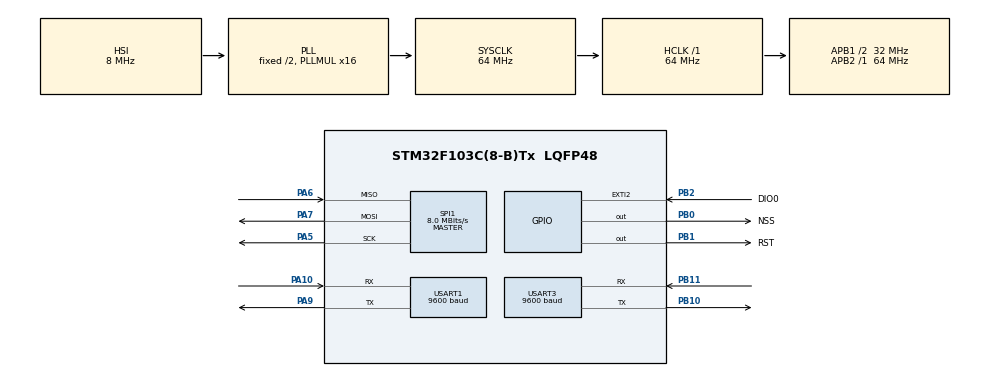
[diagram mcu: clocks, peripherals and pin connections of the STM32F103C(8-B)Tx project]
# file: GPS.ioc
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Mcu.Family=STM32F1
Mcu.Name=STM32F103C(8-B)Tx
Mcu.Package=LQFP48
NVIC.EXTI2_IRQn=true\:1\:0\:true\:false\:true\:true\:true\:true
NVIC.PriorityGroup=NVIC_PRIORITYGROUP_4
NVIC.USART3_IRQn=true\:0\:0\:false\:false\:true\:true\:true\:true
PA10.Mode=Asynchronous
PA10.Signal=USART1_RX
PA13.Mode=Serial_Wire
PA13.Signal=SYS_JTMS-SWDIO
PA14.Mode=Serial_Wire
PA14.Signal=SYS_JTCK-SWCLK
PA5.Mode=Full_Duplex_Master
PA5.Signal=SPI1_SCK
PA6.Mode=Full_Duplex_Master
PA6.Signal=SPI1_MISO
PA7.Mode=Full_Duplex_Master
PA7.Signal=SPI1_MOSI
PA9.Mode=Asynchronous
PA9.Signal=USART1_TX
PB0.GPIO_Label=NSS
PB0.PinState=GPIO_PIN_SET
PB0.Signal=GPIO_Output
PB1.GPIO_Label=RST
PB1.PinState=GPIO_PIN_SET
PB1.Signal=GPIO_Output
PB10.Mode=Asynchronous
PB10.Signal=USART3_TX
PB11.Mode=Asynchronous
PB11.Signal=USART3_RX
PB2.GPIO_Label=DIO0
PB2.Signal=GPXTI2
PD0-OSC_IN.Mode=HSE-External-Oscillator
PD0-OSC_IN.Signal=RCC_OSC_IN
PD1-OSC_OUT.Mode=HSE-External-Oscillator
PD1-OSC_OUT.Signal=RCC_OSC_OUT
ProjectManager.HeapSize=0x200
ProjectManager.StackSize=0x400
ProjectManager.TargetToolchain=STM32CubeIDE
RCC.AHBFreq_Value=64000000
RCC.APB1CLKDivider=RCC_HCLK_DIV2
RCC.APB1Freq_Value=32000000
RCC.APB1TimFreq_Value=64000000
RCC.APB2Freq_Value=64000000
RCC.APB2TimFreq_Value=64000000
RCC.HCLKFreq_Value=64000000
RCC.PLLMUL=RCC_PLL_MUL16
RCC.SYSCLKFreq_VALUE=64000000
RCC.SYSCLKSource=RCC_SYSCLKSOURCE_PLLCLK
RCC.USBFreq_Value=64000000
SPI1.BaudRatePrescaler=SPI_BAUDRATEPRESCALER_8
SPI1.CalculateBaudRate=8.0 MBits/s
SPI1.Direction=SPI_DIRECTION_2LINES
SPI1.Mode=SPI_MODE_MASTER
SPI1.VirtualType=VM_MASTER
TIM1.Period=65535
TIM1.Prescaler=63
USART1.BaudRate=9600
USART1.VirtualMode=VM_ASYNC
USART3.BaudRate=9600
USART3.VirtualMode=VM_ASYNC
VP_TIM1_VS_ClockSourceINT.Mode=Internal
board=custom

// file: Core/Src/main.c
/* USER CODE BEGIN Header */
/**
  ******************************************************************************
  * @file           : main.c
  * @brief          : Main program body
  ******************************************************************************
  * @attention
  *
  * Copyright (c) 2024 STMicroelectronics.
  * All rights reserved.
  *
  * This software is licensed under terms that can be found in the LICENSE file
  * in the root directory of this software component.
  * If no LICENSE file comes with this software, it is provided AS-IS.
  *
  ******************************************************************************
  */
/* USER CODE END Header */
#include "main.h"

/* USER CODE BEGIN Includes */
#include "NMEA.h"
#include "uartRingBuffer.h"
#include "uart.h"
#include "stdio.h"
#include "string.h"
#include "LoRa.h"
/* USER CODE END Includes */

/* USER CODE BEGIN PD */

				/*----------DHT22 Begin------------*/
#define DHT22_Pin GPIO_PIN_9
#define DHT22_GPIO_Port GPIOB
				/*----------DHT22 End------------*/
/* USER CODE END PD */

SPI_HandleTypeDef hspi1;

TIM_HandleTypeDef htim1;

UART_HandleTypeDef huart1;
UART_HandleTypeDef huart3;

/* USER CODE BEGIN PV */
  /*---------------------------LoRa Begin----------------------*/

LoRa myLoRa;
uint16_t LoRa_stat;
uint8_t Rx_Buffer[128];
uint8_t Tx_Buffer[128];
LoRa myLoRa1;
uint16_t LoRa_stat1;
uint8_t Rx_Buffer1[128];
uint8_t Tx_Buffer1[128];
	char*  recieve_data;
	  /*---------------------------LoRa End----------------------*/

	/*----------DHT22 Begin------------*/

	char message1[16];
	char message2[16];
	uint8_t TOUT = 0, CheckSum, i;
	uint8_t T_Byte1, T_Byte2, RH_Byte1, RH_Byte2;
	float Voltage_mV = 0;
	float Temperature_C = 0;
	float Temperature_F = 0;
	char msg[32];
	char msg1[32];

	float temperature = 0.0f;
	float humidity = 0.0f;
	/*----------DHT22 End------------*/

/* USER CODE END PV */

void SystemClock_Config(void);
static void MX_GPIO_Init(void);
static void MX_USART1_UART_Init(void);
static void MX_USART3_UART_Init(void);
static void MX_SPI1_Init(void);
static void MX_TIM1_Init(void);

/* USER CODE BEGIN 0 */
/*********************************** DHT22 Function ***************************/

void delay_us(uint16_t us)
{

	__HAL_TIM_SET_COUNTER(&htim1,0);
	while(__HAL_TIM_GET_COUNTER(&htim1) < us);
}

void start_signal(void) {
    GPIO_InitTypeDef GPIO_InitStruct = {0};
    GPIO_InitStruct.Pin = DHT22_Pin;
    GPIO_InitStruct.Mode = GPIO_MODE_OUTPUT_PP;
    GPIO_InitStruct.Pull = GPIO_NOPULL;
    GPIO_InitStruct.Speed = GPIO_SPEED_FREQ_LOW;
    HAL_GPIO_Init(DHT22_GPIO_Port, &GPIO_InitStruct);

    HAL_GPIO_WritePin(DHT22_GPIO_Port, DHT22_Pin, GPIO_PIN_RESET);
    HAL_Delay(18);
    HAL_GPIO_WritePin(DHT22_GPIO_Port, DHT22_Pin, GPIO_PIN_SET);
    delay_us(30); // Wait 20-40μs

    GPIO_InitStruct.Mode = GPIO_MODE_INPUT;
    HAL_GPIO_Init(DHT22_GPIO_Port, &GPIO_InitStruct);
}

uint8_t check_response(void) {
    TOUT = 0;
    __HAL_TIM_SET_COUNTER(&htim1, 0);
    while (!HAL_GPIO_ReadPin(DHT22_GPIO_Port, DHT22_Pin) && (__HAL_TIM_GET_COUNTER(&htim1) < 100)) {};
    if (__HAL_TIM_GET_COUNTER(&htim1) >= 100)
        return 0;

    __HAL_TIM_SET_COUNTER(&htim1, 0);
    while (HAL_GPIO_ReadPin(DHT22_GPIO_Port, DHT22_Pin) && (__HAL_TIM_GET_COUNTER(&htim1) < 100)) {};
    if (__HAL_TIM_GET_COUNTER(&htim1) >= 100)
        return 0;

    return 1;
}

uint8_t read_byte(void) {
    uint8_t num = 0;
    for (i = 0; i < 8; i++) {
        while (!HAL_GPIO_ReadPin(DHT22_GPIO_Port, DHT22_Pin)) {};
        __HAL_TIM_SET_COUNTER(&htim1, 0);
        while (HAL_GPIO_ReadPin(DHT22_GPIO_Port, DHT22_Pin)) {};
        if (__HAL_TIM_GET_COUNTER(&htim1) > 40) // 40μs threshold
            num |= (1 << (7 - i));
    }
    return num;
}

void send_uart(char *string) {
    HAL_UART_Transmit(&huart1, (uint8_t*)string, strlen(string), HAL_MAX_DELAY);
}

/************************************ DHT22 ******************************************/

  	  /*--------------------------GPS Begin--------------------------*/

char GGA[100];
char RMC[100];

GPSSTRUCT gpsData;

int flagGGA = 0, flagRMC = 0;
char lcdBuffer [50];

int VCCTimeout = 5000;
  	  /*--------------------------GPS End--------------------------*/

/* USER CODE END 0 */

int main(void)
{

  /* MCU Configuration--------------------------------------------------------*/

  /* Reset of all peripherals, Initializes the Flash interface and the Systick. */
  HAL_Init();

  /* Configure the system clock */
  SystemClock_Config();

  /* USER CODE BEGIN SysInit */
  char tx_buffer[] = "No Function";
  /* USER CODE END SysInit */

  /* Initialize all configured peripherals */
  MX_GPIO_Init();
  MX_USART1_UART_Init();
  MX_USART3_UART_Init();
  MX_SPI1_Init();
  MX_TIM1_Init();
  /* USER CODE BEGIN 2 */

	  /*--------------------------GPS Begin------------------------*/
  Ringbuf_init();
  HAL_Delay(500);
  uartx_write_text(&huart1, "Hello GPS...\r\n");
  HAL_Delay(500);
	  /*--------------------------GPS End--------------------------*/

  	  /*---------------------------LoRa Begin----------------------*/
  myLoRa = newLoRa();

  myLoRa.CS_port         = NSS_GPIO_Port;
  myLoRa.CS_pin          = NSS_Pin;
  myLoRa.reset_port      = RST_GPIO_Port;
  myLoRa.reset_pin       = RST_Pin;
  myLoRa.DIO0_port       = DIO0_GPIO_Port;
  myLoRa.DIO0_pin        = DIO0_Pin;
  myLoRa.hSPIx           = &hspi1;

  myLoRa.frequency             = 440;             // default = 433 MHz
  myLoRa.spredingFactor        = SF_7;            // default = SF_7
  myLoRa.bandWidth             = BW_31_25KHz;       // default = BW_125KHz
  myLoRa.crcRate               = CR_4_5;          // default = CR_4_5
  myLoRa.power                 = POWER_20db;      // default = 20db
  myLoRa.overCurrentProtection = 130;             // default = 100 mA
  myLoRa.preamble              = 9;              // default = 8;
	   /*---------------------------LoRa End---------------------------*/
  HAL_TIM_Base_Start(&htim1);

  /* USER CODE END 2 */

  /* Infinite loop */
  /* USER CODE BEGIN WHILE */
  while (1)
  {
		/*------------------------------DHT22 Begin--------------------------------*/

	  HAL_Delay(1000); // Delay for 1 second
	          start_signal(); // Send start signal to DHT22

	          uint8_t check = check_response();
	          if (!check) {
	              send_uart("No response from the sensor\r\n");
	          } else {
	              // Read bytes from DHT22
	              RH_Byte1 = read_byte();
	              RH_Byte2 = read_byte();
	              T_Byte1 = read_byte();
	              T_Byte2 = read_byte();
	              CheckSum = read_byte();

	              // Combine humidity and temperature bytes
	              uint16_t rh = (RH_Byte1 << 8) | RH_Byte2;
	              uint16_t temp = (T_Byte1 << 8) | T_Byte2;
	              uint8_t sign = 0;

	              // Check if temperature is negative
	              if (temp > 0x8000) {
	                  temp &= 0x7FFF; // Clear the sign bit
	                  sign = 1; // Indicate negative temperature
	              }

	              char rh_buf[8], temp_buf[8];
	              sprintf(rh_buf, "%2.2u", rh);
	              sprintf(temp_buf, "%2.2u", temp);

	              // Check checksum
	              if (CheckSum == ((RH_Byte1 + RH_Byte2 + T_Byte1 + T_Byte2) & 0xFF))
	              {
	            	  send_uart("Test Message\r\n");
	                  sprintf(msg1, "RH = %3u.%1u %% ", rh / 10, rh % 10);
	                  send_uart(msg1);
	                  sprintf(msg, "Temp = %c%3u.%1u C \r\n", sign ? '-' : ' ', temp / 10, temp % 10);
	                  send_uart(msg);
	              } else {
	                  send_uart("Checksum Error! Trying Again ...\r\n");
	              }
	          }
				/*------------------------------DHT22 End--------------------------------*/

	  	/*--------------------------GPS Begin--------------------------*/
	  uartx_write_text(&huart1, "Hello\r\n");

	 	  if (Wait_for("GGA") == 1)
	 	 	  {

	 	 		  VCCTimeout = 5000;  // Reset the VCC Timeout indicating the GGA is being received

	 	 		  Copy_upto("*", GGA);
	 	 		  if (decodeGGA(GGA, &gpsData.ggastruct) == 0) flagGGA = 2;  // 2 indicates the data is valid
	 	 		  else flagGGA = 1;  // 1 indicates the data is invalid
	 	 	  }

	 	 	  if (Wait_for("RMC") == 1)
	 	 	  {

	 	 		  VCCTimeout = 5000;  // Reset the VCC Timeout indicating the RMC is being received

	 	 		  Copy_upto("*", RMC);
	 	 		  if (decodeRMC(RMC, &gpsData.rmcstruct) == 0) flagRMC = 2;  // 2 indicates the data is valid
	 	 		  else flagRMC = 1;  // 1 indicates the data is invalid
	 	 	  }

	 	 	  if((flagGGA == 2 ) | (flagRMC == 2 )){
	 			  sprintf (lcdBuffer, " %02d:%02d:%02d, %02d%02d%02d", gpsData.ggastruct.tim.hour, \
	 			gpsData.ggastruct.tim.min, gpsData.ggastruct.tim.sec, gpsData.rmcstruct.date.Day, \

	 				gpsData.rmcstruct.date.Mon, gpsData.rmcstruct.date.Yr);

	 			  uartx_write_text(&huart1, lcdBuffer);
	 			  sprintf (lcdBuffer, " \r\n Latitude= %.2f%c, Longitude= %.2f%c  ", gpsData.ggastruct.lcation.latitude, gpsData.ggastruct.lcation.NS,\
	 	 					  gpsData.ggastruct.lcation.longitude, gpsData.ggastruct.lcation.EW);
	 			  uartx_write_text(&huart1, lcdBuffer);
	 	 		  }

	 	 		  else if ((flagGGA == 1) | (flagRMC == 1))
	 	 		  {
	 	 			  // Instead of clearing the display, it's better if we print spaces.
	 	 			  // This will avoid the "refreshing" part
	 				  uartx_write_text(&huart1, "   NO FIX YET   ");

	 				  uartx_write_text(&huart1, "   Please wait  ");

	 	 		  }

	 	 		  if (VCCTimeout <= 0)
	 	 		  {
	 	 			  VCCTimeout = 5000;  // Reset the timeout

	 	 			  //reset flags
	 	 			  flagGGA =flagRMC =0;

	 	 			  // You are here means the VCC is less, or maybe there is some connection issue
	 	 			  // Check the VCC, also you can try connecting to the external 5V

	 				  uartx_write_text(&huart1, "    VCC Issue   ");

	 				  uartx_write_text(&huart1, "Check Connection");

	 	 		  }

	 	 		  HAL_Delay(1000);

	 	 		 HAL_UART_Transmit(&huart1, (uint8_t *)tx_buffer, strlen(tx_buffer), 1000);
	 	 		  HAL_Delay(1000);
  	  	  	  	  /*--------------------------GPS Begin--------------------------*/

	 	  	  	  /*---------------------------LoRa Begin------------------------*/
	 	 		   Rx_Buffer1[128]=0;
	 	 		   Rx_Buffer[128]=0;
	 	 		  while (LoRa_stat == 0)
	 	 		  {
	 	 	  if(LoRa_init(&myLoRa)== LORA_OK )
	 	 	  {
	 	 		 LoRa_stat = 1;
	 	 	  }
	 	 		  }
	 	 	    // Calculate the total size of the combined buffer
	 	 	    uint16_t combinedSize = strlen(lcdBuffer) + strlen(msg) + strlen(msg1) + 1; // +1 for null terminator
	 	 	    char combinedBuffer[combinedSize];

	 	 	    // Clear the combined buffer
	 	 	    memset(combinedBuffer, 0, sizeof(combinedBuffer));

	 	 	    // Combine lcdBuffer, msg, and msg1 into the combined buffer
	 	 	    strcpy(combinedBuffer, lcdBuffer);          // Copy lcdBuffer
	 	 	    strcat(combinedBuffer, msg);               // Append msg
	 	 	    strcat(combinedBuffer, msg1);              // Append msg1

	 	 	    // Transmit the combined buffer using LoRa
	 	 	    LoRa_transmit(&myLoRa, (uint8_t *)combinedBuffer, strlen(combinedBuffer), 100);
	 	 	    HAL_Delay(5000);
//	 	 	  	  	LoRa_transmit(&myLoRa, (uint8_t*)lcdBuffer, 12, 100);
//	 	 	    	//LoRa_startReceiving(&myLoRa);
//	 	 	    	HAL_Delay(10);
//	 	 	  	  	LoRa_transmit(&myLoRa, (uint8_t*)msg, 12, 100);
//	 	 	    	HAL_Delay(10);
//	 	 	  	  	LoRa_transmit(&myLoRa, (uint8_t*)msg1, 12, 100);
	 	 		   /*---------------------------LoRa End---------------------------*/

    /* USER CODE END WHILE */

  }
}

void SystemClock_Config(void)
{
  RCC_OscInitTypeDef RCC_OscInitStruct = {0};
  RCC_ClkInitTypeDef RCC_ClkInitStruct = {0};

  /** Initializes the RCC Oscillators according to the specified parameters
  * in the RCC_OscInitTypeDef structure.
  */
  RCC_OscInitStruct.OscillatorType = RCC_OSCILLATORTYPE_HSI;
  RCC_OscInitStruct.HSIState = RCC_HSI_ON;
  RCC_OscInitStruct.HSICalibrationValue = RCC_HSICALIBRATION_DEFAULT;
  RCC_OscInitStruct.PLL.PLLState = RCC_PLL_ON;
  RCC_OscInitStruct.PLL.PLLSource = RCC_PLLSOURCE_HSI_DIV2;
  RCC_OscInitStruct.PLL.PLLMUL = RCC_PLL_MUL16;
  if (HAL_RCC_OscConfig(&RCC_OscInitStruct) != HAL_OK)
  {
    Error_Handler();
  }

  /** Initializes the CPU, AHB and APB buses clocks
  */
  RCC_ClkInitStruct.ClockType = RCC_CLOCKTYPE_HCLK|RCC_CLOCKTYPE_SYSCLK
                              |RCC_CLOCKTYPE_PCLK1|RCC_CLOCKTYPE_PCLK2;
  RCC_ClkInitStruct.SYSCLKSource = RCC_SYSCLKSOURCE_PLLCLK;
  RCC_ClkInitStruct.AHBCLKDivider = RCC_SYSCLK_DIV1;
  RCC_ClkInitStruct.APB1CLKDivider = RCC_HCLK_DIV2;
  RCC_ClkInitStruct.APB2CLKDivider = RCC_HCLK_DIV1;

  if (HAL_RCC_ClockConfig(&RCC_ClkInitStruct, FLASH_LATENCY_2) != HAL_OK)
  {
    Error_Handler();
  }
}

static void MX_SPI1_Init(void)
{

  /* SPI1 parameter configuration*/
  hspi1.Instance = SPI1;
  hspi1.Init.Mode = SPI_MODE_MASTER;
  hspi1.Init.Direction = SPI_DIRECTION_2LINES;
  hspi1.Init.DataSize = SPI_DATASIZE_8BIT;
  hspi1.Init.CLKPolarity = SPI_POLARITY_LOW;
  hspi1.Init.CLKPhase = SPI_PHASE_1EDGE;
  hspi1.Init.NSS = SPI_NSS_SOFT;
  hspi1.Init.BaudRatePrescaler = SPI_BAUDRATEPRESCALER_8;
  hspi1.Init.FirstBit = SPI_FIRSTBIT_MSB;
  hspi1.Init.TIMode = SPI_TIMODE_DISABLE;
  hspi1.Init.CRCCalculation = SPI_CRCCALCULATION_DISABLE;
  hspi1.Init.CRCPolynomial = 10;
  if (HAL_SPI_Init(&hspi1) != HAL_OK)
  {
    Error_Handler();
  }

}

static void MX_TIM1_Init(void)
{

  TIM_ClockConfigTypeDef sClockSourceConfig = {0};
  TIM_MasterConfigTypeDef sMasterConfig = {0};

  htim1.Instance = TIM1;
  htim1.Init.Prescaler = 63;
  htim1.Init.CounterMode = TIM_COUNTERMODE_UP;
  htim1.Init.Period = 65535;
  htim1.Init.ClockDivision = TIM_CLOCKDIVISION_DIV1;
  htim1.Init.RepetitionCounter = 0;
  htim1.Init.AutoReloadPreload = TIM_AUTORELOAD_PRELOAD_DISABLE;
  if (HAL_TIM_Base_Init(&htim1) != HAL_OK)
  {
    Error_Handler();
  }
  sClockSourceConfig.ClockSource = TIM_CLOCKSOURCE_INTERNAL;
  if (HAL_TIM_ConfigClockSource(&htim1, &sClockSourceConfig) != HAL_OK)
  {
    Error_Handler();
  }
  sMasterConfig.MasterOutputTrigger = TIM_TRGO_RESET;
  sMasterConfig.MasterSlaveMode = TIM_MASTERSLAVEMODE_DISABLE;
  if (HAL_TIMEx_MasterConfigSynchronization(&htim1, &sMasterConfig) != HAL_OK)
  {
    Error_Handler();
  }

}

static void MX_USART1_UART_Init(void)
{

  huart1.Instance = USART1;
  huart1.Init.BaudRate = 9600;
  huart1.Init.WordLength = UART_WORDLENGTH_8B;
  huart1.Init.StopBits = UART_STOPBITS_1;
  huart1.Init.Parity = UART_PARITY_NONE;
  huart1.Init.Mode = UART_MODE_TX_RX;
  huart1.Init.HwFlowCtl = UART_HWCONTROL_NONE;
  huart1.Init.OverSampling = UART_OVERSAMPLING_16;
  if (HAL_UART_Init(&huart1) != HAL_OK)
  {
    Error_Handler();
  }

}

static void MX_USART3_UART_Init(void)
{

  huart3.Instance = USART3;
  huart3.Init.BaudRate = 9600;
  huart3.Init.WordLength = UART_WORDLENGTH_8B;
  huart3.Init.StopBits = UART_STOPBITS_1;
  huart3.Init.Parity = UART_PARITY_NONE;
  huart3.Init.Mode = UART_MODE_TX_RX;
  huart3.Init.HwFlowCtl = UART_HWCONTROL_NONE;
  huart3.Init.OverSampling = UART_OVERSAMPLING_16;
  if (HAL_UART_Init(&huart3) != HAL_OK)
  {
    Error_Handler();
  }

}

static void MX_GPIO_Init(void)
{
  GPIO_InitTypeDef GPIO_InitStruct = {0};

  /* GPIO Ports Clock Enable */
  __HAL_RCC_GPIOD_CLK_ENABLE();
  __HAL_RCC_GPIOA_CLK_ENABLE();
  __HAL_RCC_GPIOB_CLK_ENABLE();

  /*Configure GPIO pin Output Level */
  HAL_GPIO_WritePin(GPIOB, NSS_Pin|RST_Pin, GPIO_PIN_SET);

  /*Configure GPIO pins : NSS_Pin RST_Pin */
  GPIO_InitStruct.Pin = NSS_Pin|RST_Pin;
  GPIO_InitStruct.Mode = GPIO_MODE_OUTPUT_PP;
  GPIO_InitStruct.Pull = GPIO_NOPULL;
  GPIO_InitStruct.Speed = GPIO_SPEED_FREQ_LOW;
  HAL_GPIO_Init(GPIOB, &GPIO_InitStruct);

  /*Configure GPIO pin : DIO0_Pin */
  GPIO_InitStruct.Pin = DIO0_Pin;
  GPIO_InitStruct.Mode = GPIO_MODE_IT_RISING;
  GPIO_InitStruct.Pull = GPIO_NOPULL;
  HAL_GPIO_Init(DIO0_GPIO_Port, &GPIO_InitStruct);

  /* EXTI interrupt init*/
  HAL_NVIC_SetPriority(EXTI2_IRQn, 1, 0);
  HAL_NVIC_EnableIRQ(EXTI2_IRQn);

}

void Error_Handler(void)
{
  __disable_irq();
  while (1)
  {
  }
}
